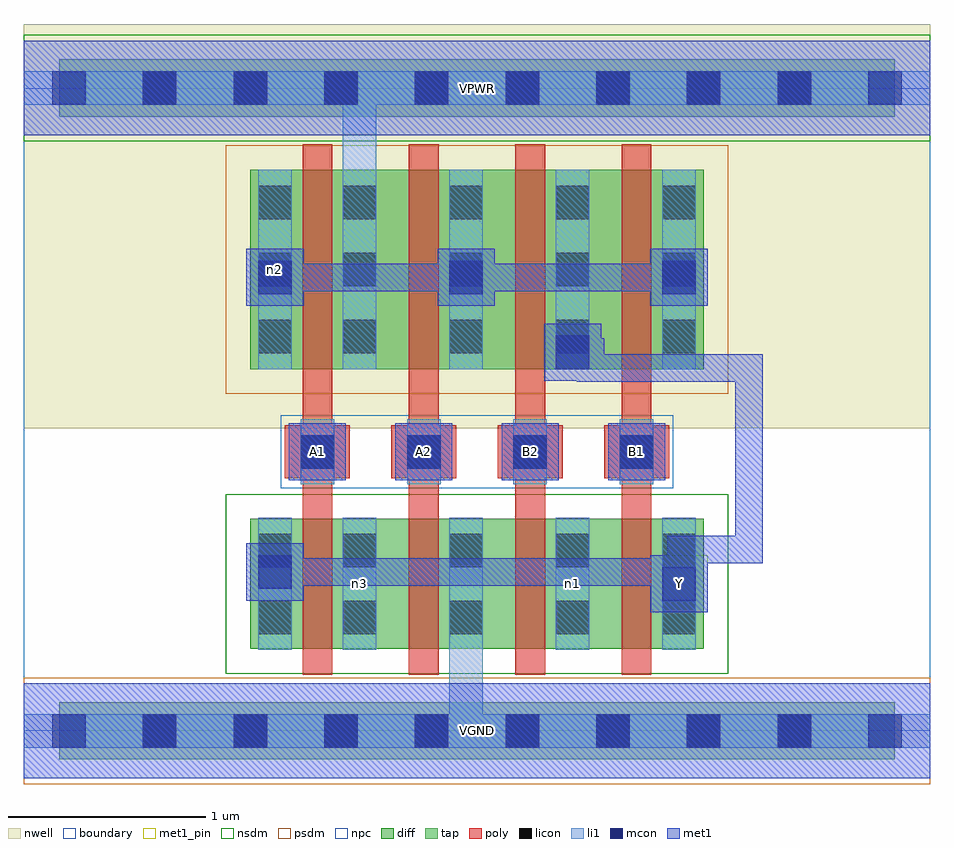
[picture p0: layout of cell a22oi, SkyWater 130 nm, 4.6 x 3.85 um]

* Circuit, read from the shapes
.subckt a22oi A1 A2 B1 B2 VGND VPWR Y n1 n2 n3
XM1 n3 A1 Y VGND sky130_fd_pr__nfet_01v8 w=0.66 l=0.15
XM2 VGND A2 n3 VGND sky130_fd_pr__nfet_01v8 w=0.66 l=0.15
XM3 n1 B2 VGND VGND sky130_fd_pr__nfet_01v8 w=0.66 l=0.15
XM4 Y B1 n1 VGND sky130_fd_pr__nfet_01v8 w=0.66 l=0.15
XM5 VPWR A1 n2 VPWR sky130_fd_pr__pfet_01v8 w=1.01 l=0.15
XM6 n2 A2 VPWR VPWR sky130_fd_pr__pfet_01v8 w=1.01 l=0.15
XM7 Y B2 n2 VPWR sky130_fd_pr__pfet_01v8 w=1.01 l=0.15
XM8 n2 B1 Y VPWR sky130_fd_pr__pfet_01v8 w=1.01 l=0.15
.ends

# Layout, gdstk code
import gdstk
lib = gdstk.Library(unit=1e-6, precision=1e-09)
def R(c, l, rs):  # rectangles x0, y0, x1, y1
    for r in rs: c.add(gdstk.rectangle(r[:2], r[2:], *l))
def A(c, l, x, y, w, h, nx, ny, dx, dy):  # array of equal rectangles
    R(c, l, [(x+i*dx, y+j*dy, x+i*dx+w, y+j*dy+h) for i in range(nx) for j in range(ny)])
nwell = (64, 20)
diff = (65, 20)
tap = (65, 44)
poly = (66, 20)
licon = (66, 44)
li1 = (67, 20)
mcon = (67, 44)
met1_pin = (68, 16)
met1 = (68, 20)
nsdm = (93, 44)
psdm = (94, 20)
npc = (95, 20)
boundary = (235, 4)

a22oi = lib.new_cell('a22oi')
R(a22oi, nwell, [(0,1.535,4.6,3.585)])
R(a22oi, diff, [(1.15,0.415,3.45,1.075), (1.15,1.835,3.45,2.845)])
R(a22oi, tap, [(0.18,-0.145,4.42,0.145), (0.18,3.115,4.42,3.405)])
A(a22oi, poly, 1.415, 0.285, 0.15, 2.69, 4, 1, 0.54, 0)
A(a22oi, poly, 1.325, 1.28, 0.33, 0.27, 4, 1, 0.54, 0)
A(a22oi, licon, 0.605, -0.085, 0.17, 0.17, 8, 2, 0.46, 3.26)
A(a22oi, licon, 1.62, 0.49, 0.17, 0.17, 4, 2, 0.54, 0.34)
A(a22oi, licon, 1.405, 1.33, 0.17, 0.17, 4, 1, 0.54, 0)
A(a22oi, licon, 1.19, 1.915, 0.17, 0.17, 1, 3, 0, 0.34)
A(a22oi, licon, 1.62, 1.915, 0.17, 0.17, 4, 3, 0.54, 0.34)
R(a22oi, licon, [(1.19,0.49,1.36,0.66), (1.19,0.83,1.36,1)])
A(a22oi, li1, 1.62, 0.41, 0.17, 0.67, 4, 1, 0.54, 0)
A(a22oi, li1, 1.405, 1.25, 0.17, 0.33, 4, 1, 0.54, 0)
A(a22oi, li1, 1.62, 1.835, 0.17, 1.01, 4, 1, 0.54, 0)
R(a22oi, li1, [(0,-0.085,4.6,0.085), (2.16,-0.085,2.33,1.08), (1.19,0.41,1.36,1.08), (1.19,1.835,1.36,2.845), (1.62,1.835,1.79,3.345), (0,3.175,4.6,3.345)])
A(a22oi, mcon, 0.145, -0.085, 0.17, 0.17, 10, 2, 0.46, 3.26)
A(a22oi, mcon, 1.405, 1.33, 0.17, 0.17, 4, 1, 0.54, 0)
R(a22oi, mcon, [(3.24,0.66,3.41,0.83), (1.19,0.72,1.36,0.89), (2.7,1.835,2.87,2.005), (1.19,2.215,1.36,2.385), (2.16,2.215,2.33,2.385), (3.24,2.215,3.41,2.385)])
A(a22oi, met1_pin, 1.345, 1.27, 0.29, 0.29, 4, 1, 0.54, 0)
R(a22oi, met1_pin, [(0,-0.24,4.6,0.24), (3.18,0.6,3.47,0.89), (0,3.02,4.6,3.5)])
A(a22oi, met1, 1.345, 1.27, 0.29, 0.29, 4, 1, 0.54, 0)
R(a22oi, met1, [(0,-0.24,4.6,0.24), (3.18,0.6,3.47,0.89), (1.13,0.66,1.42,0.95), (1.205,0.735,1.45,0.875), (1.31,0.735,3.405,0.875), (3.265,0.735,3.405,0.875), (3.265,0.735,3.405,0.99), (3.265,0.85,3.75,0.99), (3.61,0.85,3.75,1.91), (2.805,1.77,2.945,1.99), (2.805,1.77,3.75,1.91), (2.64,1.775,2.93,2.065), (2.715,1.85,2.945,1.99), (1.13,2.155,1.42,2.445), (2.1,2.155,2.39,2.445), (3.18,2.155,3.47,2.445), (1.205,2.23,1.45,2.37), (1.31,2.23,2.485,2.37), (2.175,2.23,2.485,2.37), (2.345,2.23,3.29,2.37), (3.15,2.23,3.395,2.37), (0,3.02,4.6,3.5)])
R(a22oi, nsdm, [(1.025,0.29,3.575,1.2), (0,2.99,4.6,3.53)])
R(a22oi, psdm, [(0,-0.27,4.6,0.27), (1.025,1.71,3.575,2.97)])
R(a22oi, npc, [(1.305,1.23,3.295,1.6)])
R(a22oi, boundary, [(0,0,4.6,3.26)])
a22oi.add(gdstk.Label('n3', (1.705,0.745), layer=67, texttype=5))
a22oi.add(gdstk.Label('n1', (2.785,0.745), layer=67, texttype=5))
a22oi.add(gdstk.Label('n2', (1.275,2.34), layer=67, texttype=5))
a22oi.add(gdstk.Label('A1', (1.49,1.415), layer=68, texttype=5))
a22oi.add(gdstk.Label('A2', (2.03,1.415), layer=68, texttype=5))
a22oi.add(gdstk.Label('B1', (3.11,1.415), layer=68, texttype=5))
a22oi.add(gdstk.Label('B2', (2.57,1.415), layer=68, texttype=5))
a22oi.add(gdstk.Label('Y', (3.325,0.745), layer=68, texttype=5))
a22oi.add(gdstk.Label('VPWR', (2.3,3.26), layer=68, texttype=5))
a22oi.add(gdstk.Label('VGND', (2.3,0), layer=68, texttype=5))
a22oi.add(gdstk.Label('A1', (1.49,1.415), layer=68, texttype=16))
a22oi.add(gdstk.Label('A2', (2.03,1.415), layer=68, texttype=16))
a22oi.add(gdstk.Label('B1', (3.11,1.415), layer=68, texttype=16))
a22oi.add(gdstk.Label('B2', (2.57,1.415), layer=68, texttype=16))
a22oi.add(gdstk.Label('Y', (3.325,0.745), layer=68, texttype=16))
a22oi.add(gdstk.Label('VPWR', (2.3,3.26), layer=68, texttype=16))
a22oi.add(gdstk.Label('VGND', (2.3,0), layer=68, texttype=16))

lib.write_gds('a22oi.gds')
